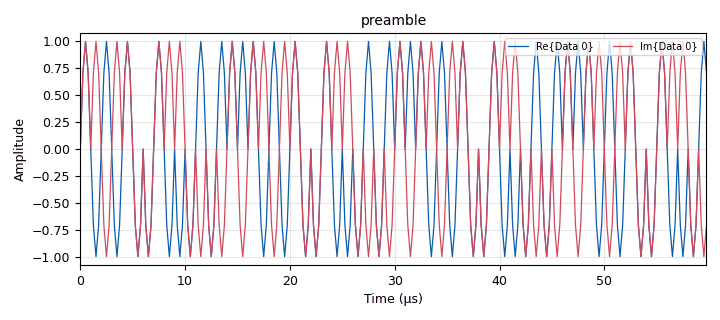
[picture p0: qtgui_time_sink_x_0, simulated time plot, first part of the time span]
<?xml version='1.0' encoding='utf-8'?>
<?grc format='1' created='3.7.11'?>
<flow_graph>
<block>
<key>options</key>
<param><key>id</key><value>dsss_oqpsk</value></param>
<param><key>author</key><value>ruofan liang</value></param>
<param><key>generate_options</key><value>qt_gui</value></param>
<param><key>title</key><value>dsss_oqpsk</value></param>
</block>
<block>
<key>variable</key>
<param><key>id</key><value>cutoff_freq</value></param>
<param><key>value</key><value>1850e3</value></param>
</block>
<block>
<key>variable</key>
<param><key>id</key><value>dsss_4_16</value></param>
<param><key>value</key><value>[(-1-1j), (1+1j), (1+1j), (1-1j), (-1-1j), (1-1j), (-1+1j), (-1+1j), (-1+1j), (1-1j), (1-1j), (1+1j), (-1+1j), (1+1j), (-1-1j), (-1-1j), (-1-1j), (1-1j), (-1+1j), (-1+1j), (-1-1j), (1+1j), (1+1j), (1-1j), (-1+1j), (1+1j), (-1-1j), (-1-1j), (-1+1j), (1-1j), (1-1j), (1+1j), (-1+1j), (-1+1j), (-1-1j), (1+1j), (1+1j), (1-1j), (-1-1j), (1-1j), (-1-1j), (-1-1j), (-1+1j), (1-1j), (1-1j), (1+1j), (-1+1j), (1+1j), (1+1j), (1-1j), (-1-1j), (1-1j), (-1+1j), (-1+1j), (-1-1j), (1+1j), (1-1j), (1+1j), (-1+1j), (1+1j), (-1-1j), (-1-1j), (-1+1j), (1-1j), (-1+1j), (-1-1j), (1+1j), (1+1j), (1-1j), (-1-1j), (1-1j), (-1+1j), (-1-1j), (-1+1j), (1-1j), (1-1j), (1+1j), (-1+1j), (1+1j), (-1-1j), (1-1j), (-1-1j), (1-1j), (-1+1j), (-1+1j), (-1-1j), (1+1j), (1+1j), (1+1j), (-1+1j), (1+1j), (-1-1j), (-1-1j), (-1+1j), (1-1j), (1-1j), (1-1j), (-1+1j), (-1+1j), (-1-1j), (1+1j), (1+1j), (1-1j), (-1-1j), (1+1j), (-1-1j), (-1-1j), (-1+1j), (1-1j), (1-1j), (1+1j), (-1+1j), (1+1j), (1+1j), (1-1j), (-1-1j), (1-1j), (-1+1j), (-1+1j), (-1-1j), (1-1j), (1-1j), (1+1j), (-1+1j), (1+1j), (-1-1j), (-1-1j), (-1+1j)]</value></param>
</block>
<block>
<key>variable</key>
<param><key>id</key><value>dsss_4_32</value></param>
<param><key>value</key><value>[(1+1j), (-1+1j), (1-1j), (-1+1j), (1+1j), (-1-1j), (-1-1j), (1+1j), (-1+1j), (-1+1j), (-1-1j), (1-1j), (-1-1j), (1-1j), (1+1j), (1-1j), (1-1j), (-1-1j), (1+1j), (-1-1j), (1-1j), (-1+1j), (-1+1j), (1-1j), (-1-1j), (-1-1j), (-1+1j), (1+1j), (-1+1j), (1+1j), (1-1j), (1+1j), (-1+1j), (-1+1j), (-1-1j), (1-1j), (-1-1j), (1-1j), (1+1j), (1-1j), (1+1j), (-1+1j), (1-1j), (-1+1j), (1+1j), (-1-1j), (-1-1j), (1+1j), (-1-1j), (-1-1j), (-1+1j), (1+1j), (-1+1j), (1+1j), (1-1j), (1+1j), (1-1j), (-1-1j), (1+1j), (-1-1j), (1-1j), (-1+1j), (-1+1j), (1-1j), (-1-1j), (1-1j), (1+1j), (1-1j), (1+1j), (-1+1j), (1-1j), (-1+1j), (1+1j), (-1-1j), (-1-1j), (1+1j), (-1+1j), (-1+1j), (-1-1j), (1-1j), (-1+1j), (1+1j), (1-1j), (1+1j), (1-1j), (-1-1j), (1+1j), (-1-1j), (1-1j), (-1+1j), (-1+1j), (1-1j), (-1-1j), (-1-1j), (-1+1j), (1+1j), (1+1j), (-1-1j), (-1-1j), (1+1j), (-1+1j), (-1+1j), (-1-1j), (1-1j), (-1-1j), (1-1j), (1+1j), (1-1j), (1+1j), (-1+1j), (1-1j), (-1+1j), (1-1j), (-1+1j), (-1+1j), (1-1j), (-1-1j), (-1-1j), (-1+1j), (1+1j), (-1+1j), (1+1j), (1-1j), (1+1j), (1-1j), (-1-1j), (1+1j), (-1-1j), (1+1j), (1-1j), (1+1j), (-1+1j), (1-1j), (-1+1j), (1+1j), (-1-1j), (-1-1j), (1+1j), (-1+1j), (-1+1j), (-1-1j), (1-1j), (-1-1j), (1-1j), (1-1j), (1+1j), (1-1j), (-1-1j), (1+1j), (-1-1j), (1-1j), (-1+1j), (-1+1j), (1-1j), (-1-1j), (-1-1j), (-1+1j), (1+1j), (-1+1j), (1+1j), (-1-1j), (1+1j), (-1+1j), (-1+1j), (-1-1j), (1-1j), (-1-1j), (1-1j), (1+1j), (1-1j), (1+1j), (-1+1j), (1-1j), (-1+1j), (1+1j), (-1-1j), (-1+1j), (1-1j), (-1-1j), (-1-1j), (-1+1j), (1+1j), (-1+1j), (1+1j), (1-1j), (1+1j), (1-1j), (-1-1j), (1+1j), (-1-1j), (1-1j), (-1+1j), (-1-1j), (1-1j), (-1-1j), (1-1j), (1+1j), (1-1j), (1+1j), (-1+1j), (1-1j), (-1+1j), (1+1j), (-1-1j), (-1-1j), (1+1j), (-1+1j), (-1+1j), (-1+1j), (1+1j), (-1+1j), (1+1j), (1-1j), (1+1j), (1-1j), (-1-1j), (1+1j), (-1-1j), (1-1j), (-1+1j), (-1+1j), (1-1j), (-1-1j), (-1-1j), (1-1j), (-1+1j), (1+1j), (-1-1j), (-1-1j), (1+1j), (-1+1j), (-1+1j), (-1-1j), (1-1j), (-1-1j), (1-1j), (1+1j), (1-1j), (1+1j), (-1+1j), (1+1j), (-1-1j), (1-1j), (-1+1j), (-1+1j), (1-1j), (-1-1j), (-1-1j), (-1+1j), (1+1j), (-1+1j), (1+1j), (1-1j), (1+1j), (1-1j), (-1-1j)]</value></param>
</block>
<block>
<key>variable</key>
<param><key>id</key><value>dsss_4_64</value></param>
<param><key>value</key><value>[(1+1j), (-1+1j), (1-1j), (-1+1j), (1+1j), (-1-1j), (-1-1j), (1+1j), (-1+1j), (-1+1j), (-1-1j), (1-1j), (-1-1j), (1-1j), (1+1j), (1-1j), (1+1j), (-1+1j), (1-1j), (-1+1j), (1+1j), (-1-1j), (-1-1j), (1+1j), (-1+1j), (-1+1j), (-1-1j), (1-1j), (-1-1j), (1-1j), (1+1j), (1-1j), (1-1j), (-1-1j), (1+1j), (-1-1j), (1-1j), (-1+1j), (-1+1j), (1-1j), (-1-1j), (-1-1j), (-1+1j), (1+1j), (-1+1j), (1+1j), (1-1j), (1+1j), (1-1j), (-1-1j), (1+1j), (-1-1j), (1-1j), (-1+1j), (-1+1j), (1-1j), (-1-1j), (-1-1j), (-1+1j), (1+1j), (-1+1j), (1+1j), (1-1j), (1+1j), (-1+1j), (-1+1j), (-1-1j), (1-1j), (-1-1j), (1-1j), (1+1j), (1-1j), (1+1j), (-1+1j), (1-1j), (-1+1j), (1+1j), (-1-1j), (-1-1j), (1+1j), (-1+1j), (-1+1j), (-1-1j), (1-1j), (-1-1j), (1-1j), (1+1j), (1-1j), (1+1j), (-1+1j), (1-1j), (-1+1j), (1+1j), (-1-1j), (-1-1j), (1+1j), (-1-1j), (-1-1j), (-1+1j), (1+1j), (-1+1j), (1+1j), (1-1j), (1+1j), (1-1j), (-1-1j), (1+1j), (-1-1j), (1-1j), (-1+1j), (-1+1j), (1-1j), (-1-1j), (-1-1j), (-1+1j), (1+1j), (-1+1j), (1+1j), (1-1j), (1+1j), (1-1j), (-1-1j), (1+1j), (-1-1j), (1-1j), (-1+1j), (-1+1j), (1-1j), (-1-1j), (1-1j), (1+1j), (1-1j), (1+1j), (-1+1j), (1-1j), (-1+1j), (1+1j), (-1-1j), (-1-1j), (1+1j), (-1+1j), (-1+1j), (-1-1j), (1-1j), (-1-1j), (1-1j), (1+1j), (1-1j), (1+1j), (-1+1j), (1-1j), (-1+1j), (1+1j), (-1-1j), (-1-1j), (1+1j), (-1+1j), (-1+1j), (-1-1j), (1-1j), (-1+1j), (1+1j), (1-1j), (1+1j), (1-1j), (-1-1j), (1+1j), (-1-1j), (1-1j), (-1+1j), (-1+1j), (1-1j), (-1-1j), (-1-1j), (-1+1j), (1+1j), (-1+1j), (1+1j), (1-1j), (1+1j), (1-1j), (-1-1j), (1+1j), (-1-1j), (1-1j), (-1+1j), (-1+1j), (1-1j), (-1-1j), (-1-1j), (-1+1j), (1+1j), (1+1j), (-1-1j), (-1-1j), (1+1j), (-1+1j), (-1+1j), (-1-1j), (1-1j), (-1-1j), (1-1j), (1+1j), (1-1j), (1+1j), (-1+1j), (1-1j), (-1+1j), (1+1j), (-1-1j), (-1-1j), (1+1j), (-1+1j), (-1+1j), (-1-1j), (1-1j), (-1-1j), (1-1j), (1+1j), (1-1j), (1+1j), (-1+1j), (1-1j), (-1+1j), (1-1j), (-1+1j), (-1+1j), (1-1j), (-1-1j), (-1-1j), (-1+1j), (1+1j), (-1+1j), (1+1j), (1-1j), (1+1j), (1-1j), (-1-1j), (1+1j), (-1-1j), (1-1j), (-1+1j), (-1+1j), (1-1j), (-1-1j), (-1-1j), (-1+1j), (1+1j), (-1+1j), (1+1j), (1-1j), (1+1j), (1-1j), (-1-1j), (1+1j), (-1-1j), (1+1j), (1-1j), (1+1j), (-1+1j), (1-1j), (-1+1j), (1+1j), (-1-1j), (-1-1j), (1+1j), (-1+1j), (-1+1j), (-1-1j), (1-1j), (-1-1j), (1-1j), (1+1j), (1-1j), (1+1j), (-1+1j), (1-1j), (-1+1j), (1+1j), (-1-1j), (-1-1j), (1+1j), (-1+1j), (-1+1j), (-1-1j), (1-1j), (-1-1j), (1-1j), (1-1j), (1+1j), (1-1j), (-1-1j), (1+1j), (-1-1j), (1-1j), (-1+1j), (-1+1j), (1-1j), (-1-1j), (-1-1j), (-1+1j), (1+1j), (-1+1j), (1+1j), (1-1j), (1+1j), (1-1j), (-1-1j), (1+1j), (-1-1j), (1-1j), (-1+1j), (-1+1j), (1-1j), (-1-1j), (-1-1j), (-1+1j), (1+1j), (-1+1j), (1+1j), (-1-1j), (1+1j), (-1+1j), (-1+1j), (-1-1j), (1-1j), (-1-1j), (1-1j), (1+1j), (1-1j), (1+1j), (-1+1j), (1-1j), (-1+1j), (1+1j), (-1-1j), (-1-1j), (1+1j), (-1+1j), (-1+1j), (-1-1j), (1-1j), (-1-1j), (1-1j), (1+1j), (1-1j), (1+1j), (-1+1j), (1-1j), (-1+1j), (1+1j), (-1-1j), (-1+1j), (1-1j), (-1-1j), (-1-1j), (-1+1j), (1+1j), (-1+1j), (1+1j), (1-1j), (1+1j), (1-1j), (-1-1j), (1+1j), (-1-1j), (1-1j), (-1+1j), (-1+1j), (1-1j), (-1-1j), (-1-1j), (-1+1j), (1+1j), (-1+1j), (1+1j), (1-1j), (1+1j), (1-1j), (-1-1j), (1+1j), (-1-1j), (1-1j), (-1+1j), (-1-1j), (1-1j), (-1-1j), (1-1j), (1+1j), (1-1j), (1+1j), (-1+1j), (1-1j), (-1+1j), (1+1j), (-1-1j), (-1-1j), (1+1j), (-1+1j), (-1+1j), (-1-1j), (1-1j), (-1-1j), (1-1j), (1+1j), (1-1j), (1+1j), (-1+1j), (1-1j), (-1+1j), (1+1j), (-1-1j), (-1-1j), (1+1j), (-1+1j), (-1+1j), (-1+1j), (1+1j), (-1+1j), (1+1j), (1-1j), (1+1j), (1-1j), (-1-1j), (1+1j), (-1-1j), (1-1j), (-1+1j), (-1+1j), (1-1j), (-1-1j), (-1-1j), (-1+1j), (1+1j), (-1+1j), (1+1j), (1-1j), (1+1j), (1-1j), (-1-1j), (1+1j), (-1-1j), (1-1j), (-1+1j), (-1+1j), (1-1j), (-1-1j), (-1-1j), (1-1j), (-1+1j), (1+1j), (-1-1j), (-1-1j), (1+1j), (-1+1j), (-1+1j), (-1-1j), (1-1j), (-1-1j), (1-1j), (1+1j), (1-1j), (1+1j), (-1+1j), (1-1j), (-1+1j), (1+1j), (-1-1j), (-1-1j), (1+1j), (-1+1j), (-1+1j), (-1-1j), (1-1j), (-1-1j), (1-1j), (1+1j), (1-1j), (1+1j), (-1+1j), (1+1j), (-1-1j), (1-1j), (-1+1j), (-1+1j), (1-1j), (-1-1j), (-1-1j), (-1+1j), (1+1j), (-1+1j), (1+1j), (1-1j), (1+1j), (1-1j), (-1-1j), (1+1j), (-1-1j), (1-1j), (-1+1j), (-1+1j), (1-1j), (-1-1j), (-1-1j), (-1+1j), (1+1j), (-1+1j), (1+1j), (1-1j), (1+1j), (1-1j), (-1-1j)]</value></param>
</block>
<block>
<key>variable</key>
<param><key>id</key><value>dsss_4_8</value></param>
<param><key>value</key><value>[(1+1j), (-1+1j), (1-1j), (-1+1j), (1-1j), (-1-1j), (1+1j), (-1-1j), (-1+1j), (-1+1j), (-1-1j), (1-1j), (-1-1j), (-1-1j), (-1+1j), (1+1j), (-1-1j), (1-1j), (1+1j), (1-1j), (-1+1j), (1+1j), (1-1j), (1+1j), (1+1j), (-1-1j), (-1-1j), (1+1j), (1-1j), (-1+1j), (-1+1j), (1-1j), (1+1j), (1-1j), (1+1j), (-1+1j), (1-1j), (1+1j), (1-1j), (-1-1j), (-1-1j), (1+1j), (-1+1j), (-1+1j), (-1+1j), (1-1j), (-1-1j), (-1-1j), (-1-1j), (1-1j), (-1-1j), (1-1j), (-1+1j), (1+1j), (-1+1j), (1+1j), (1-1j), (-1+1j), (1+1j), (-1-1j), (1+1j), (-1-1j), (1-1j), (-1+1j)]</value></param>
</block>
<block>
<key>variable</key>
<param><key>id</key><value>half_preamble_len</value></param>
<param><key>value</key><value>2*2*32*2</value></param>
</block>
<block>
<key>variable</key>
<param><key>id</key><value>lowpass_filter</value></param>
<param><key>value</key><value>firdes.low_pass(1, samp_rate, cutoff_freq, transition_width, firdes.WIN_HAMMING, 6.76)</value></param>
</block>
<block>
<key>variable</key>
<param><key>id</key><value>preamble_samples_to_correlate</value></param>
<param><key>value</key><value>[(1+1j), (-1+1j), (1-1j), (-1+1j), (1+1j), (-1-1j), (-1-1j), (1+1j), (-1+1j), (-1+1j), (-1-1j), (1-1j), (-1-1j), (1-1j), (1+1j),(1-1j)]</value></param>
</block>
<block>
<key>variable</key>
<param><key>id</key><value>samp_rate</value></param>
<param><key>value</key><value>4000000</value></param>
</block>
<block>
<key>variable</key>
<param><key>id</key><value>transition_width</value></param>
<param><key>value</key><value>200e3</value></param>
</block>
<block>
<key>variable</key>
<param><key>id</key><value>variable_0</value></param>
<param><key>value</key><value>len(preamble_samples_to_correlate)</value></param>
</block>
<block>
<key>CFO_estimator_frequency_offset_estimator</key>
<param><key>id</key><value>CFO_estimator_frequency_offset_estimator_0</value></param>
<param><key>len</key><value>half_preamble_len</value></param>
</block>
<block>
<key>CFO_estimator_frequency_offset_estimator</key>
<param><key>id</key><value>CFO_estimator_frequency_offset_estimator_0_0</value></param>
<param><key>len</key><value>half_preamble_len*2</value></param>
</block>
<block>
<key>analog_quadrature_demod_cf</key>
<param><key>id</key><value>analog_quadrature_demod_cf_0</value></param>
<param><key>gain</key><value>1</value></param>
</block>
<block>
<key>blocks_char_to_float</key>
<param><key>id</key><value>blocks_char_to_float_0</value></param>
<param><key>scale</key><value>1</value></param>
</block>
<block>
<key>blocks_complex_to_float</key>
<param><key>id</key><value>blocks_complex_to_float_0</value></param>
</block>
<block>
<key>blocks_complex_to_float</key>
<param><key>id</key><value>blocks_complex_to_float_0_0</value></param>
</block>
<block>
<key>blocks_delay</key>
<param><key>id</key><value>blocks_delay_0</value></param>
<param><key>delay</key><value>2</value></param>
<param><key>type</key><value>float</value></param>
</block>
<block>
<key>blocks_delay</key>
<param><key>id</key><value>blocks_delay_0_0</value></param>
<param><key>delay</key><value>2</value></param>
<param><key>type</key><value>float</value></param>
</block>
<block>
<key>blocks_delay</key>
<param><key>id</key><value>blocks_delay_1</value></param>
<param><key>delay</key><value>half_preamble_len</value></param>
<param><key>type</key><value>complex</value></param>
</block>
<block>
<key>blocks_file_sink</key>
<param><key>id</key><value>blocks_file_sink_0</value></param>
<param><key>file</key><value>/home/ousseynou/Zigbeepacket1.cap</value></param>
<param><key>type</key><value>byte</value></param>
<param><key>unbuffered</key><value>True</value></param>
</block>
<block>
<key>blocks_float_to_complex</key>
<param><key>id</key><value>blocks_float_to_complex_0</value></param>
</block>
<block>
<key>blocks_float_to_complex</key>
<param><key>id</key><value>blocks_float_to_complex_0_0</value></param>
</block>
<block>
<key>blocks_message_debug</key>
<param><key>id</key><value>blocks_message_debug_0</value></param>
</block>
<block>
<key>blocks_message_strobe</key>
<param><key>id</key><value>blocks_message_strobe_0</value></param>
<param><key>msg</key><value>pmt.cons(pmt.make_dict(), pmt.pmt_to_python.numpy_to_uvector(numpy.array([ord(c) for c in "Hello world!"], numpy.uint8)))</value></param>
<param><key>period</key><value>100</value></param>
</block>
<block>
<key>blocks_message_strobe</key>
<param><key>id</key><value>blocks_message_strobe_0_0</value></param>
<param><key>_enabled</key><value>0</value></param>
<param><key>msg</key><value>pmt.intern("Hello World!\n")</value></param>
<param><key>period</key><value>1000</value></param>
</block>
<block>
<key>blocks_multiply_xx</key>
<param><key>id</key><value>blocks_multiply_xx_0</value></param>
<param><key>type</key><value>complex</value></param>
</block>
<block>
<key>blocks_multiply_xx</key>
<param><key>id</key><value>blocks_multiply_xx_0_1</value></param>
<param><key>type</key><value>complex</value></param>
</block>
<block>
<key>blocks_multiply_xx</key>
<param><key>id</key><value>blocks_multiply_xx_1</value></param>
<param><key>type</key><value>complex</value></param>
</block>
<block>
<key>blocks_null_sink</key>
<param><key>id</key><value>blocks_null_sink_0</value></param>
<param><key>bus_conns</key><value>[[0,],]</value></param>
<param><key>type</key><value>complex</value></param>
</block>
<block>
<key>blocks_null_sink</key>
<param><key>id</key><value>blocks_null_sink_0_0</value></param>
<param><key>bus_conns</key><value>[[0,],]</value></param>
<param><key>type</key><value>float</value></param>
</block>
<block>
<key>blocks_null_sink</key>
<param><key>id</key><value>blocks_null_sink_0_0_0</value></param>
<param><key>bus_conns</key><value>[[0,],]</value></param>
<param><key>type</key><value>float</value></param>
</block>
<block>
<key>blocks_null_sink</key>
<param><key>id</key><value>blocks_null_sink_0_1</value></param>
<param><key>bus_conns</key><value>[[0,],]</value></param>
<param><key>type</key><value>complex</value></param>
</block>
<block>
<key>blocks_packed_to_unpacked_xx</key>
<param><key>id</key><value>blocks_packed_to_unpacked_xx_0</value></param>
<param><key>bits_per_chunk</key><value>4</value></param>
<param><key>endianness</key><value>gr.GR_LSB_FIRST</value></param>
<param><key>type</key><value>byte</value></param>
</block>
<block>
<key>blocks_pdu_to_tagged_stream</key>
<param><key>id</key><value>blocks_pdu_to_tagged_stream_0_0_0</value></param>
<param><key>type</key><value>byte</value></param>
<param><key>tag</key><value>pdu_length</value></param>
</block>
<block>
<key>blocks_plateau_detector_fb</key>
<param><key>id</key><value>blocks_plateau_detector_fb_0</value></param>
<param><key>max_len</key><value>20</value></param>
<param><key>threshold</key><value>0.9</value></param>
</block>
<block>
<key>blocks_repeat</key>
<param><key>id</key><value>blocks_repeat_0</value></param>
<param><key>interp</key><value>4</value></param>
<param><key>type</key><value>complex</value></param>
</block>
<block>
<key>blocks_repeat</key>
<param><key>id</key><value>blocks_repeat_0_0</value></param>
<param><key>interp</key><value>4</value></param>
<param><key>type</key><value>complex</value></param>
</block>
<block>
<key>blocks_tag_gate</key>
<param><key>id</key><value>blocks_tag_gate_0</value></param>
<param><key>type</key><value>float</value></param>
<param><key>propagate_tags</key><value>False</value></param>
</block>
<block>
<key>blocks_tagged_stream_multiply_length</key>
<param><key>id</key><value>blocks_tagged_stream_multiply_length_0</value></param>
<param><key>type</key><value>complex</value></param>
<param><key>c</key><value>512</value></param>
<param><key>lengthtagname</key><value>pdu_length</value></param>
</block>
<block>
<key>blocks_vector_source_x</key>
<param><key>id</key><value>blocks_vector_source_x_0</value></param>
<param><key>type</key><value>complex</value></param>
<param><key>repeat</key><value>True</value></param>
<param><key>vector</key><value>[0, sin(pi/4), 1, sin(3*pi/4)]</value></param>
</block>
<block>
<key>blocks_vector_source_x</key>
<param><key>id</key><value>blocks_vector_source_x_2</value></param>
<param><key>type</key><value>complex</value></param>
<param><key>repeat</key><value>True</value></param>
<param><key>vector</key><value>((1+1j), (-1+1j), (1-1j), (-1+1j), (1+1j), (-1-1j), (-1-1j), (1+1j), (-1+1j), (-1+1j), (-1-1j), (1-1j), (-1-1j), (1-1j), (1+1j),(1-1j),(1+1j), (-1+1j), (1-1j), (-1+1j), (1+1j), (-1-1j), (-1-1j), (1+1j), (-1+1j), (-1+1j), (-1-1j), (1-1j), (-1-1j), (1-1j), (1+1j),(1-1j),(1+1j), (-1+1j), (1-1j), (-1+1j), (1+1j), (-1-1j), (-1-1j), (1+1j), (-1+1j), (-1+1j), (-1-1j), (1-1j), (-1-1j), (1-1j), (1+1j),(1-1j),(1+1j), (-1+1j), (1-1j), (-1+1j), (1+1j), (-1-1j), (-1-1j), (1+1j), (-1+1j), (-1+1j), (-1-1j), (1-1j), (-1-1j), (1-1j), (1+1j),(1-1j),(1+1j), (-1+1j), (1-1j), (-1+1j), (1+1j), (-1-1j), (-1-1j), (1+1j), (-1+1j), (-1+1j), (-1-1j), (1-1j), (-1-1j), (1-1j), (1+1j),(1-1j),(1+1j), (-1+1j), (1-1j), (-1+1j), (1+1j), (-1-1j), (-1-1j), (1+1j), (-1+1j), (-1+1j), (-1-1j), (1-1j), (-1-1j), (1-1j), (1+1j),(1-1j),(1+1j), (-1+1j), (1-1j), (-1+1j), (1+1j), (-1-1j), (-1-1j), (1+1j), (-1+1j), (-1+1j), (-1-1j), (1-1j), (-1-1j), (1-1j), (1+1j),(1-1j),(1+1j), (-1+1j), (1-1j), (-1+1j), (1+1j), (-1-1j), (-1-1j), (1+1j), (-1+1j), (-1+1j), (-1-1j), (1-1j), (-1-1j), (1-1j), (1+1j),(1-1j),(1+1j), (-1+1j), (1-1j), (-1+1j), (1+1j), (-1-1j), (-1-1j), (1+1j), (-1+1j), (-1+1j), (-1-1j), (1-1j), (-1-1j), (1-1j), (1+1j),(1-1j),(1+1j), (-1+1j), (1-1j), (-1+1j), (1+1j), (-1-1j), (-1-1j), (1+1j), (-1+1j), (-1+1j), (-1-1j), (1-1j), (-1-1j), (1-1j), (1+1j),(1-1j),(1+1j), (-1+1j), (1-1j), (-1+1j), (1+1j), (-1-1j), (-1-1j), (1+1j), (-1+1j), (-1+1j), (-1-1j), (1-1j), (-1-1j), (1-1j), (1+1j),(1-1j),(1+1j), (-1+1j), (1-1j), (-1+1j), (1+1j), (-1-1j), (-1-1j), (1+1j), (-1+1j), (-1+1j), (-1-1j), (1-1j), (-1-1j), (1-1j), (1+1j),(1-1j),(1+1j), (-1+1j), (1-1j), (-1+1j), (1+1j), (-1-1j), (-1-1j), (1+1j), (-1+1j), (-1+1j), (-1-1j), (1-1j), (-1-1j), (1-1j), (1+1j),(1-1j),(1+1j), (-1+1j), (1-1j), (-1+1j), (1+1j), (-1-1j), (-1-1j), (1+1j), (-1+1j), (-1+1j), (-1-1j), (1-1j), (-1-1j), (1-1j), (1+1j),(1-1j),(1+1j), (-1+1j), (1-1j), (-1+1j), (1+1j), (-1-1j), (-1-1j), (1+1j), (-1+1j), (-1+1j), (-1-1j), (1-1j), (-1-1j), (1-1j), (1+1j),(1-1j),(1+1j), (-1+1j), (1-1j), (-1+1j), (1+1j), (-1-1j), (-1-1j), (1+1j), (-1+1j), (-1+1j), (-1-1j), (1-1j), (-1-1j), (1-1j), (1+1j),(1-1j))</value></param>
</block>
<block>
<key>channels_cfo_model</key>
<param><key>id</key><value>channels_cfo_model_0</value></param>
<param><key>stdev</key><value>0</value></param>
<param><key>maxdev</key><value>2e6</value></param>
<param><key>srate</key><value>samp_rate</value></param>
<param><key>seed</key><value>0</value></param>
</block>
<block>
<key>digital_burst_shaper_xx</key>
<param><key>id</key><value>digital_burst_shaper_xx_0</value></param>
<param><key>insert_phasing</key><value>False</value></param>
<param><key>length_tag_name</key><value>"pdu_length"</value></param>
<param><key>post_padding</key><value>4</value></param>
<param><key>pre_padding</key><value>0</value></param>
<param><key>type</key><value>complex</value></param>
<param><key>window</key><value>([])</value></param>
</block>
<block>
<key>digital_chunks_to_symbols_xx</key>
<param><key>id</key><value>digital_chunks_to_symbols_xx_0</value></param>
<param><key>dimension</key><value>16</value></param>
<param><key>in_type</key><value>byte</value></param>
<param><key>out_type</key><value>complex</value></param>
<param><key>symbol_table</key><value>dsss_4_32</value></param>
</block>
<block>
<key>digital_clock_recovery_mm_xx</key>
<param><key>id</key><value>digital_clock_recovery_mm_xx_0</value></param>
<param><key>gain_mu</key><value>0.03</value></param>
<param><key>gain_omega</key><value>0.000225</value></param>
<param><key>mu</key><value>0.5</value></param>
<param><key>omega_relative_limit</key><value>0.0002</value></param>
<param><key>omega</key><value>2</value></param>
<param><key>type</key><value>float</value></param>
</block>
<block>
<key>foo_wireshark_connector</key>
<param><key>id</key><value>foo_wireshark_connector_0</value></param>
<param><key>debug</key><value>False</value></param>
<param><key>tech</key><value>195</value></param>
</block>
<block>
<key>frequency_offset_plateau_frequency_offset_plateau</key>
<param><key>id</key><value>frequency_offset_plateau_frequency_offset_plateau_0</value></param>
</block>
<block>
<key>ieee802_15_4_mac</key>
<param><key>id</key><value>ieee802_15_4_mac_0</value></param>
<param><key>debug</key><value>False</value></param>
<param><key>dst</key><value>0xffff</value></param>
<param><key>dst_pan</key><value>0x1aaa</value></param>
<param><key>fcf</key><value>0x8841</value></param>
<param><key>seq_nr</key><value>0</value></param>
<param><key>src</key><value>0x3344</value></param>
</block>
<block>
<key>ieee802_15_4_rime_stack</key>
<param><key>id</key><value>ieee802_15_4_rime_stack_0</value></param>
<param><key>bc_channels</key><value>[129]</value></param>
<param><key>rime_add</key><value>[23,42]</value></param>
<param><key>ruc_channels</key><value>[132]</value></param>
<param><key>uc_channels</key><value>[131]</value></param>
</block>
<block>
<key>import</key>
<param><key>id</key><value>import_0</value></param>
<param><key>import</key><value>from math import sin, pi</value></param>
</block>
<block>
<key>import</key>
<param><key>id</key><value>import_0_0</value></param>
<param><key>import</key><value>from math import sin, pi</value></param>
</block>
<block>
<key>import</key>
<param><key>id</key><value>import_0_1</value></param>
<param><key>import</key><value>import numpy</value></param>
</block>
<block>
<key>note</key>
<param><key>id</key><value>note_0</value></param>
<param><key>note</key><value>lower nipple is sent first</value></param>
</block>
<block>
<key>note</key>
<param><key>id</key><value>note_1</value></param>
<param><key>note</key><value>maps chunks of 4 bis directly to qpsk symbols</value></param>
</block>
<block>
<key>note</key>
<param><key>id</key><value>note_2</value></param>
<param><key>note</key><value>half sine pulse shape</value></param>
</block>
<block>
<key>note</key>
<param><key>id</key><value>note_2_0</value></param>
<param><key>note</key><value>Generate local preamble</value></param>
</block>
<block>
<key>note</key>
<param><key>id</key><value>note_2_1</value></param>
<param><key>note</key><value>Frame peak correlation</value></param>
</block>
<block>
<key>note</key>
<param><key>id</key><value>note_2_1_0</value></param>
<param><key>note</key><value>Estimate frequency offset with local preamble</value></param>
</block>
<block>
<key>note</key>
<param><key>id</key><value>note_3</value></param>
<param><key>note</key><value>4 samples per (chip) symbol</value></param>
</block>
<block>
<key>oqpsk_dsss_access_code_prefixer</key>
<param><key>id</key><value>oqpsk_dsss_access_code_prefixer_0</value></param>
<param><key>pad</key><value>0x00</value></param>
<param><key>preamble</key><value>0x000000a7</value></param>
</block>
<block>
<key>oqpsk_dsss_packet_sink</key>
<param><key>id</key><value>oqpsk_dsss_packet_sink_1</value></param>
<param><key>dsss_mode</key><value>32</value></param>
<param><key>threshold</key><value>12</value></param>
<param><key>verbose</key><value>0</value></param>
<param><key>verbose2</key><value>0</value></param>
<param><key>channel_frequency</key><value>2.405e9</value></param>
<param><key>filenameRecorder</key><value>" "</value></param>
<param><key>sample_rate</key><value>4e6</value></param>
</block>
<block>
<key>qtgui_time_sink_x</key>
<param><key>id</key><value>qtgui_time_sink_x_0</value></param>
<param><key>ctrlpanel</key><value>True</value></param>
<param><key>color1</key><value>"blue"</value></param>
<param><key>label1</key><value></value></param>
<param><key>color2</key><value>"red"</value></param>
<param><key>label2</key><value></value></param>
<param><key>name</key><value>"preamble"</value></param>
<param><key>size</key><value>1024</value></param>
<param><key>srate</key><value>samp_rate</value></param>
<param><key>type</key><value>complex</value></param>
</block>
<block>
<key>qtgui_time_sink_x</key>
<param><key>id</key><value>qtgui_time_sink_x_0_0</value></param>
<param><key>ctrlpanel</key><value>True</value></param>
<param><key>color1</key><value>"blue"</value></param>
<param><key>label1</key><value></value></param>
<param><key>color2</key><value>"red"</value></param>
<param><key>label2</key><value></value></param>
<param><key>name</key><value>"Noisy"</value></param>
<param><key>size</key><value>1024</value></param>
<param><key>srate</key><value>samp_rate</value></param>
<param><key>type</key><value>complex</value></param>
</block>
<block>
<key>qtgui_time_sink_x</key>
<param><key>id</key><value>qtgui_time_sink_x_0_0_0</value></param>
<param><key>ctrlpanel</key><value>True</value></param>
<param><key>_enabled</key><value>0</value></param>
<param><key>color1</key><value>"blue"</value></param>
<param><key>label1</key><value></value></param>
<param><key>color2</key><value>"red"</value></param>
<param><key>label2</key><value></value></param>
<param><key>size</key><value>1024</value></param>
<param><key>srate</key><value>samp_rate</value></param>
<param><key>type</key><value>complex</value></param>
</block>
<block>
<key>qtgui_time_sink_x</key>
<param><key>id</key><value>qtgui_time_sink_x_0_0_1_0</value></param>
<param><key>ctrlpanel</key><value>True</value></param>
<param><key>color1</key><value>"blue"</value></param>
<param><key>label1</key><value></value></param>
<param><key>color2</key><value>"red"</value></param>
<param><key>label2</key><value></value></param>
<param><key>name</key><value>"complex frequency offset"</value></param>
<param><key>size</key><value>1024</value></param>
<param><key>srate</key><value>samp_rate</value></param>
<param><key>type</key><value>complex</value></param>
</block>
<block>
<key>qtgui_time_sink_x</key>
<param><key>id</key><value>qtgui_time_sink_x_0_0_1_0_0</value></param>
<param><key>ctrlpanel</key><value>True</value></param>
<param><key>color1</key><value>"blue"</value></param>
<param><key>label1</key><value></value></param>
<param><key>color2</key><value>"red"</value></param>
<param><key>label2</key><value></value></param>
<param><key>name</key><value>"complex frequency offset1"</value></param>
<param><key>size</key><value>1024</value></param>
<param><key>srate</key><value>samp_rate</value></param>
<param><key>type</key><value>complex</value></param>
</block>
<block>
<key>qtgui_time_sink_x</key>
<param><key>id</key><value>qtgui_time_sink_x_0_1</value></param>
<param><key>ctrlpanel</key><value>True</value></param>
<param><key>color1</key><value>"blue"</value></param>
<param><key>label1</key><value></value></param>
<param><key>name</key><value>"real time plateau"</value></param>
<param><key>size</key><value>1024</value></param>
<param><key>srate</key><value>samp_rate</value></param>
<param><key>type</key><value>float</value></param>
</block>
<block>
<key>qtgui_time_sink_x</key>
<param><key>id</key><value>qtgui_time_sink_x_0_1_0</value></param>
<param><key>ctrlpanel</key><value>True</value></param>
<param><key>color1</key><value>"blue"</value></param>
<param><key>label1</key><value></value></param>
<param><key>name</key><value>"frq_offset"</value></param>
<param><key>size</key><value>1024</value></param>
<param><key>srate</key><value>samp_rate</value></param>
<param><key>type</key><value>float</value></param>
</block>
<block>
<key>qtgui_time_sink_x</key>
<param><key>id</key><value>qtgui_time_sink_x_0_1_0_0</value></param>
<param><key>ctrlpanel</key><value>True</value></param>
<param><key>color1</key><value>"red"</value></param>
<param><key>label1</key><value>"Peak Correlation"</value></param>
<param><key>color2</key><value>"green"</value></param>
<param><key>label2</key><value>"Plateau Peak detector"</value></param>
<param><key>color3</key><value>"yellow"</value></param>
<param><key>label3</key><value>"frequency offset"</value></param>
<param><key>name</key><value>"real time correlation coefficient"</value></param>
<param><key>nconnections</key><value>3</value></param>
<param><key>size</key><value>10240</value></param>
<param><key>srate</key><value>samp_rate</value></param>
<param><key>type</key><value>float</value></param>
</block>
<connection><source_block_id>CFO_estimator_frequency_offset_estimator_0</source_block_id><sink_block_id>blocks_null_sink_0</sink_block_id><source_key>0</source_key><sink_key>0</sink_key></connection>
<connection><source_block_id>CFO_estimator_frequency_offset_estimator_0</source_block_id><sink_block_id>qtgui_time_sink_x_0_0_1_0_0</sink_block_id><source_key>0</source_key><sink_key>0</sink_key></connection>
<connection><source_block_id>CFO_estimator_frequency_offset_estimator_0</source_block_id><sink_block_id>blocks_plateau_detector_fb_0</sink_block_id><source_key>2</source_key><sink_key>0</sink_key></connection>
<connection><source_block_id>CFO_estimator_frequency_offset_estimator_0</source_block_id><sink_block_id>qtgui_time_sink_x_0_1_0_0</sink_block_id><source_key>2</source_key><sink_key>0</sink_key></connection>
<connection><source_block_id>CFO_estimator_frequency_offset_estimator_0</source_block_id><sink_block_id>qtgui_time_sink_x_0_1_0</sink_block_id><source_key>1</source_key><sink_key>0</sink_key></connection>
<connection><source_block_id>CFO_estimator_frequency_offset_estimator_0</source_block_id><sink_block_id>qtgui_time_sink_x_0_1_0_0</sink_block_id><source_key>1</source_key><sink_key>2</sink_key></connection>
<connection><source_block_id>CFO_estimator_frequency_offset_estimator_0_0</source_block_id><sink_block_id>frequency_offset_plateau_frequency_offset_plateau_0</sink_block_id><source_key>0</source_key><sink_key>0</sink_key></connection>
<connection><source_block_id>CFO_estimator_frequency_offset_estimator_0_0</source_block_id><sink_block_id>blocks_null_sink_0_0_0</sink_block_id><source_key>2</source_key><sink_key>0</sink_key></connection>
<connection><source_block_id>CFO_estimator_frequency_offset_estimator_0_0</source_block_id><sink_block_id>blocks_null_sink_0_0</sink_block_id><source_key>1</source_key><sink_key>0</sink_key></connection>
<connection><source_block_id>analog_quadrature_demod_cf_0</source_block_id><sink_block_id>digital_clock_recovery_mm_xx_0</sink_block_id><source_key>0</source_key><sink_key>0</sink_key></connection>
<connection><source_block_id>blocks_char_to_float_0</source_block_id><sink_block_id>frequency_offset_plateau_frequency_offset_plateau_0</sink_block_id><source_key>0</source_key><sink_key>1</sink_key></connection>
<connection><source_block_id>blocks_char_to_float_0</source_block_id><sink_block_id>qtgui_time_sink_x_0_1</sink_block_id><source_key>0</source_key><sink_key>0</sink_key></connection>
<connection><source_block_id>blocks_char_to_float_0</source_block_id><sink_block_id>qtgui_time_sink_x_0_1_0_0</sink_block_id><source_key>0</source_key><sink_key>1</sink_key></connection>
<connection><source_block_id>blocks_complex_to_float_0</source_block_id><sink_block_id>blocks_delay_0</sink_block_id><source_key>1</source_key><sink_key>0</sink_key></connection>
<connection><source_block_id>blocks_complex_to_float_0</source_block_id><sink_block_id>blocks_float_to_complex_0</sink_block_id><source_key>0</source_key><sink_key>0</sink_key></connection>
<connection><source_block_id>blocks_complex_to_float_0_0</source_block_id><sink_block_id>blocks_delay_0_0</sink_block_id><source_key>1</source_key><sink_key>0</sink_key></connection>
<connection><source_block_id>blocks_complex_to_float_0_0</source_block_id><sink_block_id>blocks_float_to_complex_0_0</sink_block_id><source_key>0</source_key><sink_key>0</sink_key></connection>
<connection><source_block_id>blocks_delay_0</source_block_id><sink_block_id>blocks_tag_gate_0</sink_block_id><source_key>0</source_key><sink_key>0</sink_key></connection>
<connection><source_block_id>blocks_delay_0_0</source_block_id><sink_block_id>blocks_float_to_complex_0_0</sink_block_id><source_key>0</source_key><sink_key>1</sink_key></connection>
<connection><source_block_id>blocks_delay_1</source_block_id><sink_block_id>CFO_estimator_frequency_offset_estimator_0</sink_block_id><source_key>0</source_key><sink_key>1</sink_key></connection>
<connection><source_block_id>blocks_delay_1</source_block_id><sink_block_id>blocks_multiply_xx_1</sink_block_id><source_key>0</source_key><sink_key>0</sink_key></connection>
<connection><source_block_id>blocks_float_to_complex_0</source_block_id><sink_block_id>channels_cfo_model_0</sink_block_id><source_key>0</source_key><sink_key>0</sink_key></connection>
<connection><source_block_id>blocks_float_to_complex_0_0</source_block_id><sink_block_id>CFO_estimator_frequency_offset_estimator_0_0</sink_block_id><source_key>0</source_key><sink_key>1</sink_key></connection>
<connection><source_block_id>blocks_message_strobe_0</source_block_id><sink_block_id>ieee802_15_4_rime_stack_0</sink_block_id><source_key>strobe</source_key><sink_key>bcin</sink_key></connection>
<connection><source_block_id>blocks_message_strobe_0_0</source_block_id><sink_block_id>ieee802_15_4_rime_stack_0</sink_block_id><source_key>strobe</source_key><sink_key>bcin</sink_key></connection>
<connection><source_block_id>blocks_multiply_xx_0</source_block_id><sink_block_id>blocks_tagged_stream_multiply_length_0</sink_block_id><source_key>0</source_key><sink_key>0</sink_key></connection>
<connection><source_block_id>blocks_multiply_xx_0_1</source_block_id><sink_block_id>blocks_complex_to_float_0_0</sink_block_id><source_key>0</source_key><sink_key>0</sink_key></connection>
<connection><source_block_id>blocks_multiply_xx_0_1</source_block_id><sink_block_id>qtgui_time_sink_x_0</sink_block_id><source_key>0</source_key><sink_key>0</sink_key></connection>
<connection><source_block_id>blocks_multiply_xx_1</source_block_id><sink_block_id>analog_quadrature_demod_cf_0</sink_block_id><source_key>0</source_key><sink_key>0</sink_key></connection>
<connection><source_block_id>blocks_multiply_xx_1</source_block_id><sink_block_id>blocks_null_sink_0_1</sink_block_id><source_key>0</source_key><sink_key>0</sink_key></connection>
<connection><source_block_id>blocks_packed_to_unpacked_xx_0</source_block_id><sink_block_id>digital_chunks_to_symbols_xx_0</sink_block_id><source_key>0</source_key><sink_key>0</sink_key></connection>
<connection><source_block_id>blocks_pdu_to_tagged_stream_0_0_0</source_block_id><sink_block_id>blocks_packed_to_unpacked_xx_0</sink_block_id><source_key>0</source_key><sink_key>0</sink_key></connection>
<connection><source_block_id>blocks_plateau_detector_fb_0</source_block_id><sink_block_id>blocks_char_to_float_0</sink_block_id><source_key>0</source_key><sink_key>0</sink_key></connection>
<connection><source_block_id>blocks_repeat_0</source_block_id><sink_block_id>blocks_multiply_xx_0</sink_block_id><source_key>0</source_key><sink_key>1</sink_key></connection>
<connection><source_block_id>blocks_repeat_0</source_block_id><sink_block_id>qtgui_time_sink_x_0_0_0</sink_block_id><source_key>0</source_key><sink_key>0</sink_key></connection>
<connection><source_block_id>blocks_repeat_0_0</source_block_id><sink_block_id>blocks_multiply_xx_0_1</sink_block_id><source_key>0</source_key><sink_key>1</sink_key></connection>
<connection><source_block_id>blocks_tag_gate_0</source_block_id><sink_block_id>blocks_float_to_complex_0</sink_block_id><source_key>0</source_key><sink_key>1</sink_key></connection>
<connection><source_block_id>blocks_tagged_stream_multiply_length_0</source_block_id><sink_block_id>digital_burst_shaper_xx_0</sink_block_id><source_key>0</source_key><sink_key>0</sink_key></connection>
<connection><source_block_id>blocks_vector_source_x_0</source_block_id><sink_block_id>blocks_multiply_xx_0</sink_block_id><source_key>0</source_key><sink_key>0</sink_key></connection>
<connection><source_block_id>blocks_vector_source_x_0</source_block_id><sink_block_id>blocks_multiply_xx_0_1</sink_block_id><source_key>0</source_key><sink_key>0</sink_key></connection>
<connection><source_block_id>blocks_vector_source_x_2</source_block_id><sink_block_id>blocks_repeat_0_0</sink_block_id><source_key>0</source_key><sink_key>0</sink_key></connection>
<connection><source_block_id>channels_cfo_model_0</source_block_id><sink_block_id>CFO_estimator_frequency_offset_estimator_0</sink_block_id><source_key>0</source_key><sink_key>0</sink_key></connection>
<connection><source_block_id>channels_cfo_model_0</source_block_id><sink_block_id>CFO_estimator_frequency_offset_estimator_0_0</sink_block_id><source_key>0</source_key><sink_key>0</sink_key></connection>
<connection><source_block_id>channels_cfo_model_0</source_block_id><sink_block_id>blocks_delay_1</sink_block_id><source_key>0</source_key><sink_key>0</sink_key></connection>
<connection><source_block_id>channels_cfo_model_0</source_block_id><sink_block_id>qtgui_time_sink_x_0_0</sink_block_id><source_key>0</source_key><sink_key>0</sink_key></connection>
<connection><source_block_id>digital_burst_shaper_xx_0</source_block_id><sink_block_id>blocks_complex_to_float_0</sink_block_id><source_key>0</source_key><sink_key>0</sink_key></connection>
<connection><source_block_id>digital_chunks_to_symbols_xx_0</source_block_id><sink_block_id>blocks_repeat_0</sink_block_id><source_key>0</source_key><sink_key>0</sink_key></connection>
<connection><source_block_id>digital_clock_recovery_mm_xx_0</source_block_id><sink_block_id>oqpsk_dsss_packet_sink_1</sink_block_id><source_key>0</source_key><sink_key>0</sink_key></connection>
<connection><source_block_id>foo_wireshark_connector_0</source_block_id><sink_block_id>blocks_file_sink_0</sink_block_id><source_key>0</source_key><sink_key>0</sink_key></connection>
<connection><source_block_id>frequency_offset_plateau_frequency_offset_plateau_0</source_block_id><sink_block_id>blocks_multiply_xx_1</sink_block_id><source_key>0</source_key><sink_key>1</sink_key></connection>
<connection><source_block_id>frequency_offset_plateau_frequency_offset_plateau_0</source_block_id><sink_block_id>qtgui_time_sink_x_0_0_1_0</sink_block_id><source_key>0</source_key><sink_key>0</sink_key></connection>
<connection><source_block_id>ieee802_15_4_mac_0</source_block_id><sink_block_id>ieee802_15_4_rime_stack_0</sink_block_id><source_key>app out</source_key><sink_key>fromMAC</sink_key></connection>
<connection><source_block_id>ieee802_15_4_mac_0</source_block_id><sink_block_id>oqpsk_dsss_access_code_prefixer_0</sink_block_id><source_key>pdu out</source_key><sink_key>in</sink_key></connection>
<connection><source_block_id>ieee802_15_4_rime_stack_0</source_block_id><sink_block_id>ieee802_15_4_mac_0</sink_block_id><source_key>toMAC</source_key><sink_key>app in</sink_key></connection>
<connection><source_block_id>oqpsk_dsss_access_code_prefixer_0</source_block_id><sink_block_id>blocks_pdu_to_tagged_stream_0_0_0</sink_block_id><source_key>out</source_key><sink_key>pdus</sink_key></connection>
<connection><source_block_id>oqpsk_dsss_packet_sink_1</source_block_id><sink_block_id>blocks_message_debug_0</sink_block_id><source_key>out</source_key><sink_key>print</sink_key></connection>
<connection><source_block_id>oqpsk_dsss_packet_sink_1</source_block_id><sink_block_id>blocks_message_debug_0</sink_block_id><source_key>out</source_key><sink_key>print_pdu</sink_key></connection>
<connection><source_block_id>oqpsk_dsss_packet_sink_1</source_block_id><sink_block_id>foo_wireshark_connector_0</sink_block_id><source_key>out</source_key><sink_key>in</sink_key></connection>
</flow_graph>
